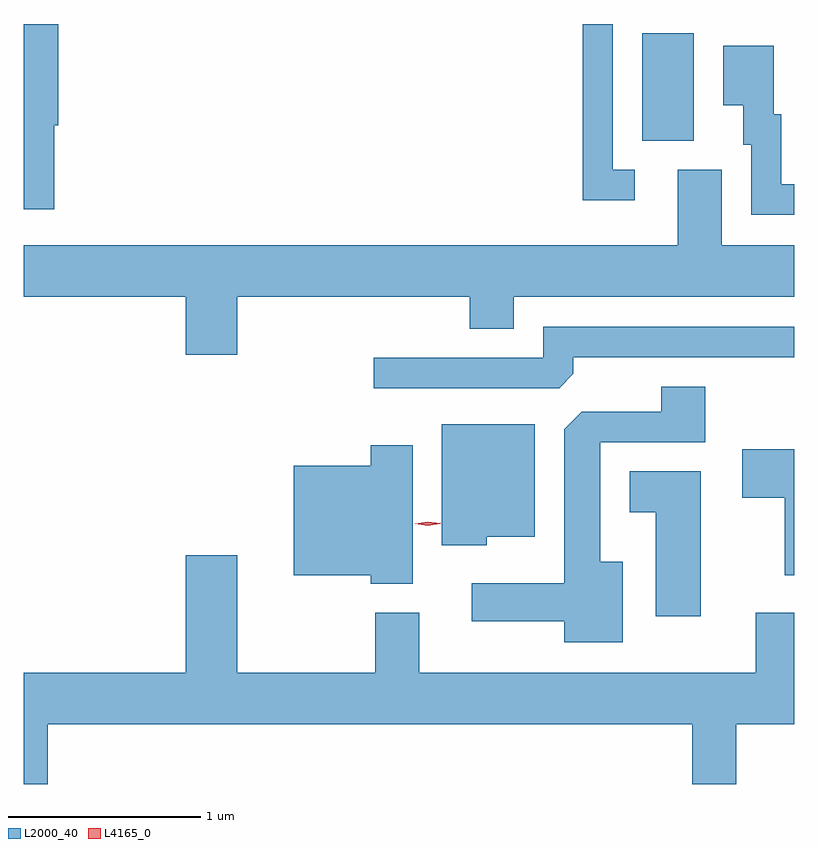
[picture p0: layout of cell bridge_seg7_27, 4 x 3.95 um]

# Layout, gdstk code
import gdstk
lib = gdstk.Library(unit=1e-6, precision=1e-09)
def R(c, l, rs):  # rectangles x0, y0, x1, y1
    for r in rs: c.add(gdstk.rectangle(r[:2], r[2:], *l))
def P(c, l, *ps):  # polygons
    for p in ps: c.add(gdstk.Polygon(p, *l))
L2000_40 = (2000, 40)
L4165_0 = (4165, 0)

bridge_seg7_27 = lib.new_cell('bridge_seg7_27')
R(bridge_seg7_27, L2000_40, [(1835.826,1748.426,1836.094,1748.984)])
P(bridge_seg7_27, L2000_40, [(1832.774,1748.506),(1832.794,1748.506),(1832.794,1749.032),(1832.615,1749.032),(1832.615,1748.506),(1832.616,1748.506),(1832.616,1748.229),(1832.615,1748.229),(1832.615,1748.071),(1832.774,1748.071)],
  [(1835.788,1748.274),(1835.674,1748.274),(1835.674,1749.032),(1835.516,1749.032),(1835.516,1748.116),(1835.788,1748.116)],
  [(1836.615,1748.199),(1836.549,1748.199),(1836.549,1748.564),(1836.509,1748.564),(1836.509,1748.919),(1836.246,1748.919),(1836.246,1748.611),(1836.351,1748.611),(1836.351,1748.406),(1836.391,1748.406),(1836.391,1748.041),(1836.615,1748.041)],
  [(1836.011,1748.274),(1836.011,1747.884),(1832.615,1747.884),(1832.615,1747.616),(1833.456,1747.616),(1833.456,1747.316),(1833.724,1747.316),(1833.724,1747.616),(1834.931,1747.616),(1834.931,1747.451),(1835.159,1747.451),(1835.159,1747.616),(1836.615,1747.616),(1836.615,1747.884),(1836.239,1747.884),(1836.239,1748.274)],
  [(1835.469,1747.217),(1835.469,1747.301),(1836.615,1747.301),(1836.615,1747.459),(1835.311,1747.459),(1835.311,1747.299),(1834.433,1747.299),(1834.433,1747.141),(1835.394,1747.141)],
  [(1835.724,1746.239),(1835.609,1746.239),(1835.609,1746.861),(1836.154,1746.861),(1836.154,1747.149),(1835.926,1747.149),(1835.926,1747.019),(1835.512,1747.019),(1835.421,1746.929),(1835.421,1746.129),(1834.941,1746.129),(1834.941,1745.931),(1835.421,1745.931),(1835.421,1745.821),(1835.724,1745.821)],
  [(1835.019,1746.371),(1835.269,1746.371),(1835.269,1746.954),(1834.786,1746.954),(1834.786,1746.326),(1835.019,1746.326)],
  [(1834.634,1746.844),(1834.416,1746.844),(1834.416,1746.739),(1834.016,1746.739),(1834.016,1746.171),(1834.416,1746.171),(1834.416,1746.126),(1834.634,1746.126)],
  [(1836.615,1746.824),(1836.346,1746.824),(1836.346,1746.571),(1836.566,1746.571),(1836.566,1746.171),(1836.615,1746.171)],
  [(1836.129,1746.709),(1835.761,1746.709),(1835.761,1746.496),(1835.896,1746.496),(1835.896,1745.956),(1836.129,1745.956)],
  [(1832.739,1745.396),(1836.086,1745.396),(1836.086,1745.086),(1836.314,1745.086),(1836.314,1745.396),(1836.615,1745.396),(1836.615,1745.974),(1836.416,1745.974),(1836.416,1745.664),(1834.669,1745.664),(1834.669,1745.974),(1834.441,1745.974),(1834.441,1745.664),(1833.724,1745.664),(1833.724,1746.274),(1833.456,1746.274),(1833.456,1745.664),(1832.615,1745.664),(1832.615,1745.086),(1832.739,1745.086)])
P(bridge_seg7_27, L4165_0, [(1834.712,1746.428),(1834.646,1746.436),(1834.645,1746.437),(1834.646,1746.437),(1834.712,1746.448),(1834.778,1746.439),(1834.779,1746.439),(1834.778,1746.438)])

lib.write_gds('bridge_seg7_27.gds')
